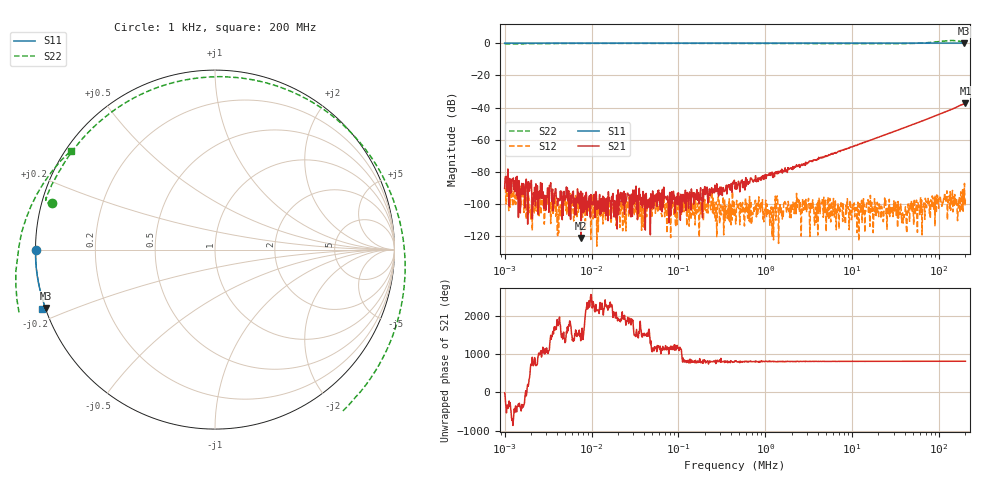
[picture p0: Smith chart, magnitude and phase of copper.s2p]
! ListType=Log
# MHZ S RI R 50
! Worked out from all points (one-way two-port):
!   1000 points, 1 kHz to 200 MHz, reference 50 ohm
!   highest |S21| = -37.36 dB at 200 MHz (marker M1); lowest = -120.9 dB at 7.601 kHz (marker M2)
!   lowest |S11| = 0.0 dB at 192.8 MHz (marker M3), VSWR 450.56, Z = 0.114 - j8.41 ohm
!   |S11| at or under -10 dB: nowhere
!   |S22| runs from -0.5 to 1.7 dB; largest |S21 - S12| = 0.014
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0.001  -0.9991 -0.000525  3.01e-05 -7.3e-06  -1.15e-05 -2.99e-05  -0.9089 0.26
0.0076007  -0.9991 -0.000161  9e-07 1e-07  4e-07 -1.16e-05  -0.9421 0.2757
0.0076941  -0.9993 -8.37e-05  -3.7e-06 1.6e-05  -2.1e-06 8.4e-06  -0.9422 0.2759
0.0584804  -0.9993 -5.75e-05  -1.83e-05 1.68e-05  1.1e-06 -7.5e-06  -0.9406 0.2882
0.4499541  -0.9995 -0.000948  -7.7e-06 2.84e-05  1.8e-06 7.1e-06  -0.9349 0.303
1.384685  -0.9996 -0.00257  5e-06 8.79e-05  2.7e-06 -1.35e-05  -0.921 0.3347
3.419952  -0.9997 -0.00621  1.13e-05 0.00021  -1.8e-06 -7.2e-06  -0.8867 0.4028
12.03851  -0.9997 -0.0213  2.64e-05 0.00073  -7.5e-06 -3e-07  -0.7122 0.6466
26.31347  -0.9994 -0.046  -1.2e-06 0.00159  3.6e-06 -3.5e-06  -0.3118 0.9064
39.38105  -0.9984 -0.0683  -4.98e-05 0.00236  -1.9e-06 3.4e-06  0.1201 0.9587
52.80066  -0.9967 -0.0912  -0.000116 0.00318  1.9e-06 -7e-06  0.5492 0.8169
67.41648  -0.9943 -0.116  -0.000209 0.00407  2.4e-06 -9.8e-06  0.9034 0.4633
87.1363  -0.9899 -0.1492  -0.000345 0.00532  4.8e-06 -4.1e-06  1.054 -0.2074
97.2649  -0.9871 -0.1662  -0.000454 0.00599  -4e-07 -1.04e-05  0.9559 -0.561
108.5708  -0.984 -0.185  -0.000498 0.00669  -1.06e-05 -4.1e-06  0.7122 -0.8994
122.6808  -0.9786 -0.2083  -0.000645 0.00763  -1.86e-05 -1.83e-05  0.2579 -1.156
135.278  -0.9738 -0.229  -0.000765 0.00849  -3.1e-06 -5.7e-06  -0.2103 -1.185
149.1688  -0.9677 -0.2516  -0.000934 0.00946  1.5e-06 -9.1e-06  -0.6843 -0.9897
164.4859  -0.9602 -0.2765  -0.00105 0.0108  4.6e-06 -3.3e-06  -1.028 -0.5582
176.9973  -0.954 -0.2977  -0.000871 0.0119  2.35e-05 -6.2e-06  -1.11 -0.1278
192.8018  -0.9408 -0.3257  -0.000547 0.0129  1.13e-05 -8e-06  -0.9529 0.3738
200  -0.9633 -0.3299  -0.000202 0.0136  -1.29e-05 -6.6e-06  -0.8026 0.5506
